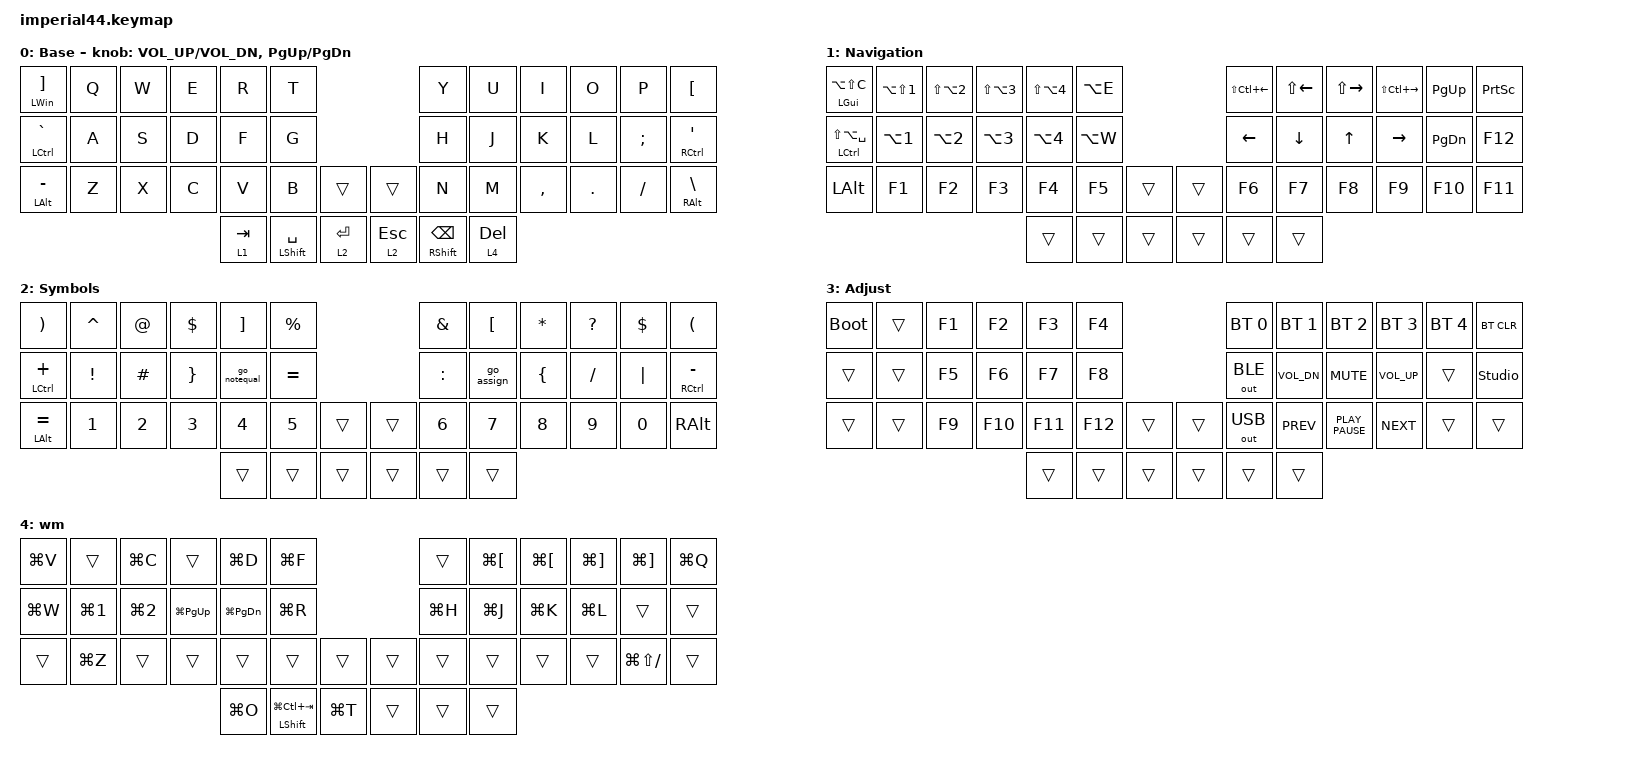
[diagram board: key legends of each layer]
#include "keys_ru.h"
#include <behaviors.dtsi>
#include <dt-bindings/zmk/bt.h>
#include <dt-bindings/zmk/keys.h>
#include <dt-bindings/zmk/outputs.h>

&lt { quick-tap-ms = <200>; };

&mt { quick-tap-ms = <200>; };

/ {
    macros {
        go_assign: go_assign {
            compatible = "zmk,behavior-macro";
            #binding-cells = <0>;
            bindings = <&kp COLON &kp EQUAL>;
            label = "GO_ASSIGN";
        };

        go_notequal: go_notequal {
            compatible = "zmk,behavior-macro";
            #binding-cells = <0>;
            bindings = <&kp EXCL &kp EQUAL>;
            label = "GO_NOTEQUAL";
        };
    };

    combos {
        compatible = "zmk,combos";

        switch_lang {
            bindings = <&kp LG(SPACE)>;
            key-positions = <0 11>;
        };
    };

    keymap {
        compatible = "zmk,keymap";

        base {
            bindings = <
&mt LEFT_WIN RIGHT_BRACKET  &kp Q  &kp W  &kp E  &kp R      &kp T                                           &kp Y                      &kp U         &kp I      &kp O    &kp P     &kp LEFT_BRACKET
&mt LCTRL GRAVE             &kp A  &kp S  &kp D  &kp F      &kp G                                           &kp H                      &kp J         &kp K      &kp L    &kp SEMI  &mt RCTRL SINGLE_QUOTE
&mt LALT MINUS              &kp Z  &kp X  &kp C  &kp V      &kp B                 &trans         &trans     &kp N                      &kp M         &kp COMMA  &kp DOT  &kp FSLH  &mt RALT BACKSLASH
                                                 &lt 1 TAB  &mt LEFT_SHIFT SPACE  &lt 2 ENTER    &lt 2 ESC  &mt RIGHT_SHIFT BACKSPACE  &lt 4 DELETE
            >;

            display-name = "Base";
            sensor-bindings =
                <&inc_dec_kp C_VOL_UP C_VOL_DN>,
                <&inc_dec_kp PG_UP PG_DN>;
        };

        nav {
            bindings = <
&mt LEFT_GUI LA(LS(C))   &kp LA(LS(N1))  &kp LS(LA(N2))  &kp LS(LA(N3))  &kp LS(LA(N4))  &kp LA(E)                    &kp LS(LC(LEFT_ARROW))  &kp LS(LEFT_ARROW)  &kp LS(RIGHT_ARROW)  &kp LS(LC(RIGHT_ARROW))  &kp PAGE_UP    &kp PRINTSCREEN
&mt LCTRL LS(LA(SPACE))  &kp LA(N1)      &kp LA(N2)      &kp LA(N3)      &kp LA(N4)      &kp LA(W)                    &kp LEFT                &kp DOWN            &kp UP               &kp RIGHT                &kp PAGE_DOWN  &kp F12
&kp LALT                 &kp F1          &kp F2          &kp F3          &kp F4          &kp F5     &trans    &trans  &kp F6                  &kp F7              &kp F8               &kp F9                   &kp F10        &kp F11
                                                                         &trans          &trans     &trans    &trans  &trans                  &trans
            >;

            display-name = "Navigation";
        };

        sym {
            bindings = <
&kp RIGHT_PARENTHESIS  &kp CARET  &kp AT        &kp DOLLAR       &kp RIGHT_BRACKET  &kp PRCNT                    &kp AMPS   &kp LBKT    &kp ASTERISK    &kp QUESTION  &kp DOLLAR  &kp LEFT_PARENTHESIS
&mt LCTRL PLUS         &kp EXCL   &kp HASH      &kp RIGHT_BRACE  &go_notequal       &kp EQUAL                    &kp COLON  &go_assign  &kp LEFT_BRACE  &kp SLASH     &kp PIPE    &mt RCTRL MINUS
&mt LEFT_ALT EQUAL     &kp N1     &kp NUMBER_2  &kp N3           &kp N4             &kp N5     &trans    &trans  &kp N6     &kp N7      &kp N8          &kp N9        &kp N0      &kp RALT
                                                                 &trans             &trans     &trans    &trans  &trans     &trans
            >;

            display-name = "Symbols";
        };

        adj {
            bindings = <
&bootloader  &trans  &kp F1  &kp F2   &kp F3   &kp F4                     &bt BT_SEL 0  &bt BT_SEL 1  &bt BT_SEL 2      &bt BT_SEL 3  &bt BT_SEL 4  &bt BT_CLR
&trans       &trans  &kp F5  &kp F6   &kp F7   &kp F8                     &out OUT_BLE  &kp C_VOL_DN  &kp K_MUTE        &kp C_VOL_UP  &trans        &studio_unlock
&trans       &trans  &kp F9  &kp F10  &kp F11  &kp F12  &trans    &trans  &out OUT_USB  &kp K_PREV    &kp K_PLAY_PAUSE  &kp K_NEXT    &trans        &trans
                                      &trans   &trans   &trans    &trans  &trans        &trans
            >;

            display-name = "Adjust";
        };

        wm {
            bindings = <
&kp LG(V)  &trans      &kp LG(C)   &trans         &kp LG(D)          &kp LG(F)                                        &trans     &kp LG(LEFT_BRACKET)  &kp LG(LEFT_BRACKET)  &kp LG(RIGHT_BRACKET)  &kp LG(RIGHT_BRACKET)  &kp LG(Q)
&kp LG(W)  &kp LG(N1)  &kp LG(N2)  &kp LG(PG_UP)  &kp LG(PAGE_DOWN)  &kp LG(R)                                        &kp LG(H)  &kp LG(J)             &kp LG(K)             &kp LG(L)              &trans                 &trans
&trans     &kp LG(Z)   &trans      &trans         &trans             &trans                      &trans       &trans  &trans     &trans                &trans                &trans                 &kp LG(LS(FSLH))       &trans
                                                  &kp LG(O)          &mt LEFT_SHIFT LG(LC(TAB))  &kp LG(T)    &trans  &trans     &trans
            >;
        };
    };

    conditional_layers {
        compatible = "zmk,conditional-layers";

        first-and-second {
            if-layers = <1 2>;
            then-layer = <3>;
        };
    };
};
